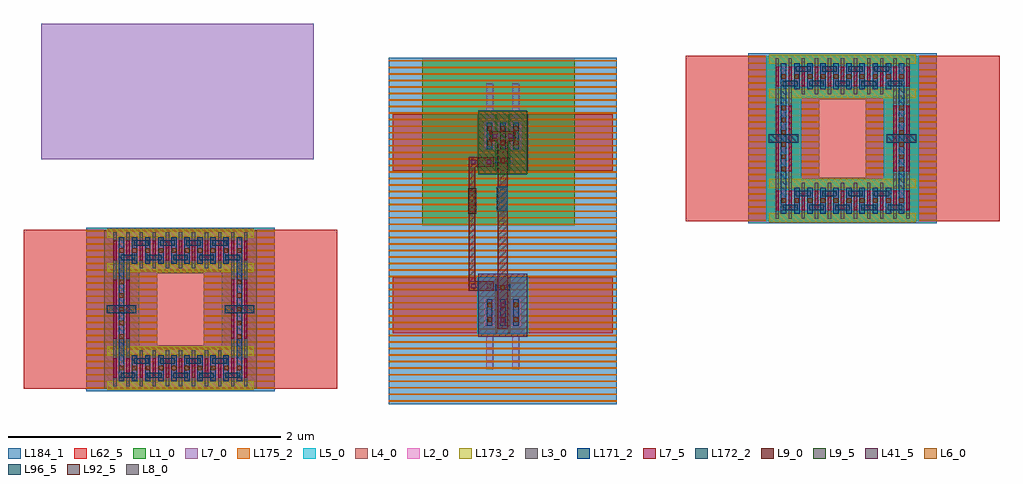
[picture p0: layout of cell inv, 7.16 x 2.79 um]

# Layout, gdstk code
import gdstk
lib = gdstk.Library(unit=1e-6, precision=1e-09)
def R(c, l, rs):  # rectangles x0, y0, x1, y1
    for r in rs: c.add(gdstk.rectangle(r[:2], r[2:], *l))
def A(c, l, x, y, w, h, nx, ny, dx, dy):  # array of equal rectangles
    R(c, l, [(x+i*dx, y+j*dy, x+i*dx+w, y+j*dy+h) for i in range(nx) for j in range(ny)])
L1_0 = (1, 0)
L2_0 = (2, 0)
L3_0 = (3, 0)
L4_0 = (4, 0)
L5_0 = (5, 0)
L6_0 = (6, 0)
L7_0 = (7, 0)
L7_5 = (7, 5)
L8_0 = (8, 0)
L9_0 = (9, 0)
L9_5 = (9, 5)
L41_5 = (41, 5)
L62_5 = (62, 5)
L92_5 = (92, 5)
L96_5 = (96, 5)
L171_2 = (171, 2)
L172_2 = (172, 2)
L173_2 = (173, 2)
L175_2 = (175, 2)
L184_1 = (184, 1)

m2_m1_cdns_560242955921 = lib.new_cell('M2_M1_CDNS_560242955921')
R(m2_m1_cdns_560242955921, L7_0, [(-0.036,-0.093,0.036,0.093)])
R(m2_m1_cdns_560242955921, L8_0, [(-0.016,-0.073,0.016,-0.041), (-0.016,0.041,0.016,0.073)])
R(m2_m1_cdns_560242955921, L9_0, [(-0.036,-0.123,0.036,0.093)])

m2_m1_cdns_560242955920 = lib.new_cell('M2_M1_CDNS_560242955920')
R(m2_m1_cdns_560242955920, L7_0, [(-0.093,-0.036,0.093,0.036)])
R(m2_m1_cdns_560242955920, L8_0, [(-0.073,-0.016,-0.041,0.016), (0.041,-0.016,0.073,0.016)])
R(m2_m1_cdns_560242955920, L9_0, [(-0.093,-0.036,0.093,0.036)])

pgr_cdns_560242955923 = lib.new_cell('PGR_CDNS_560242955923')
R(pgr_cdns_560242955923, L2_0, [(0,-0.024,0.96,0.12), (0,0.264,0.096,0.696), (0.864,0.264,0.96,0.696), (0,0.84,0.96,0.984)])
A(pgr_cdns_560242955923, L3_0, -0.012, -0.084, 0.024, 0.264, 11, 2, 0.096, 0.864)
R(pgr_cdns_560242955923, L3_0, [(-0.012,-0.024,0.012,0.984), (0.084,-0.024,0.108,0.984), (0.852,-0.024,0.876,0.984), (0.948,-0.024,0.972,0.984), (-0.012,0.204,0.012,0.756), (0.084,0.204,0.108,0.756), (0.852,0.204,0.876,0.756), (0.948,0.204,0.972,0.756)])
R(pgr_cdns_560242955923, L4_0, [(-0.08,-0.104,0.176,1.064), (-0.08,-0.104,1.04,0.2), (0.784,-0.104,1.04,1.064), (-0.08,0.76,1.04,1.064)])
A(pgr_cdns_560242955923, L6_0, 0.032, 0.032, 0.032, 0.032, 10, 2, 0.096, 0.864)
A(pgr_cdns_560242955923, L6_0, 0.032, 0.264, 0.032, 0.032, 1, 5, 0, 0.1)
A(pgr_cdns_560242955923, L6_0, 0.896, 0.264, 0.032, 0.032, 1, 5, 0, 0.1)
R(pgr_cdns_560242955923, L7_0, [(0,-0.024,0.096,0.984), (0,-0.024,0.96,0.12), (0.864,-0.024,0.96,0.984), (0,0.84,0.96,0.984)])
A(pgr_cdns_560242955923, L7_5, -0.012, -0.024, 0.024, 0.144, 11, 2, 0.096, 0.864)
R(pgr_cdns_560242955923, L7_5, [(-0.012,0.264,0.012,0.696), (0.084,0.264,0.108,0.696), (0.852,0.264,0.876,0.696), (0.948,0.264,0.972,0.696)])
R(pgr_cdns_560242955923, L62_5, [(-0.672,-0.104,0.768,1.064), (-0.08,-0.104,1.04,0.2), (0.192,-0.104,1.632,1.064), (-0.08,0.76,1.04,1.064)])
A(pgr_cdns_560242955923, L171_2, 0.028, -0.048, 0.04, 0.192, 10, 2, 0.096, 0.864)
R(pgr_cdns_560242955923, L171_2, [(0.028,-0.048,0.068,1.008), (0.892,-0.048,0.932,1.008)])
A(pgr_cdns_560242955923, L172_2, 0.042, -0.024, 0.108, 0.04, 5, 2, 0.192, 0.864)
A(pgr_cdns_560242955923, L172_2, 0.138, 0.081, 0.108, 0.04, 4, 2, 0.192, 0.864)
R(pgr_cdns_560242955923, L172_2, [(-0.06,0.45,0.156,0.51), (0.804,0.45,1.02,0.51)])
R(pgr_cdns_560242955923, L173_2, [(-0.057,-0.112,0.153,-0.044), (-0.057,-0.112,1.017,-0.044), (0.807,-0.112,1.017,-0.044), (-0.057,0.14,1.017,0.208), (-0.057,0.752,1.017,0.82), (-0.057,1.004,0.153,1.072), (-0.057,1.004,1.017,1.072), (0.807,1.004,1.017,1.072)])
A(pgr_cdns_560242955923, L175_2, -0.212, -0.101, 0.52, 0.01, 1, 25, 0, 0.048)
A(pgr_cdns_560242955923, L175_2, -0.08, -0.101, 1.12, 0.01, 1, 7, 0, 0.048)
A(pgr_cdns_560242955923, L175_2, 0.652, -0.101, 0.52, 0.01, 1, 25, 0, 0.048)
A(pgr_cdns_560242955923, L175_2, -0.08, 0.763, 1.12, 0.01, 1, 7, 0, 0.048)
R(pgr_cdns_560242955923, L184_1, [(-0.212,-0.12,0.308,1.08), (-0.08,-0.12,1.04,0.216), (0.652,-0.12,1.172,1.08), (-0.08,0.744,1.04,1.08)])

p08_ckt_cdns_56024295592 = lib.new_cell('p08_ckt_CDNS_560242955922')
R(p08_ckt_cdns_56024295592, L1_0, [(-0.384,-0.361,0.496,0.553)])
A(p08_ckt_cdns_56024295592, L2_0, -0.08, 0, 0.08, 0.192, 3, 1, 0.096, 0)
R(p08_ckt_cdns_56024295592, L2_0, [(0,0,0.016,0.192), (0.096,0,0.112,0.192)])
R(p08_ckt_cdns_56024295592, L3_0, [(0,-0.16,0.016,0), (0.096,-0.16,0.112,0), (0,0,0.016,0.192), (0.096,0,0.112,0.192), (0,0.192,0.016,0.256), (0.096,0.192,0.112,0.256)])
R(p08_ckt_cdns_56024295592, L4_0, [(-0.132,-0.16,0.244,0.256)])
A(p08_ckt_cdns_56024295592, L6_0, -0.056, 0.029, 0.032, 0.032, 3, 2, 0.096, 0.106)
R(p08_ckt_cdns_56024295592, L6_0, [(0.04,-0.1,0.072,-0.068)])
A(p08_ckt_cdns_56024295592, L7_0, -0.065, 0.004, 0.05, 0.188, 3, 1, 0.096, 0)
R(p08_ckt_cdns_56024295592, L7_0, [(-0.013,-0.109,0.125,-0.059)])
R(p08_ckt_cdns_56024295592, L9_5, [(-0.125,-0.184,0.237,0.28)])
R(p08_ckt_cdns_56024295592, L62_5, [(-0.752,-0.16,0.864,0.256)])
A(p08_ckt_cdns_56024295592, L171_2, -0.06, 0, 0.04, 0.192, 3, 1, 0.096, 0)
R(p08_ckt_cdns_56024295592, L172_2, [(0,-0.104,0.112,-0.064)])
A(p08_ckt_cdns_56024295592, L175_2, -0.78, -0.413, 1.672, 0.01, 1, 22, 0, 0.048)
R(p08_ckt_cdns_56024295592, L184_1, [(-0.78,-0.432,0.892,0.624)])

n08_ckt_cdns_56024295592 = lib.new_cell('n08_ckt_CDNS_560242955921')
A(n08_ckt_cdns_56024295592, L2_0, -0.08, 0, 0.08, 0.192, 3, 1, 0.096, 0)
R(n08_ckt_cdns_56024295592, L2_0, [(0,0,0.016,0.192), (0.096,0,0.112,0.192)])
R(n08_ckt_cdns_56024295592, L3_0, [(0,-0.056,0.016,0), (0.096,-0.056,0.112,0), (0,0,0.016,0.192), (0.096,0,0.112,0.192), (0,0.192,0.016,0.356), (0.096,0.192,0.112,0.356)])
R(n08_ckt_cdns_56024295592, L5_0, [(-0.132,-0.061,0.244,0.356)])
A(n08_ckt_cdns_56024295592, L6_0, -0.056, 0.029, 0.032, 0.032, 3, 2, 0.096, 0.106)
R(n08_ckt_cdns_56024295592, L6_0, [(0.04,0.264,0.072,0.296)])
A(n08_ckt_cdns_56024295592, L7_0, -0.065, 0.004, 0.05, 0.188, 3, 1, 0.096, 0)
R(n08_ckt_cdns_56024295592, L7_0, [(-0.013,0.255,0.125,0.305)])
R(n08_ckt_cdns_56024295592, L41_5, [(-0.125,-0.08,0.237,0.38)])
R(n08_ckt_cdns_56024295592, L62_5, [(-0.752,-0.056,0.864,0.356)])
A(n08_ckt_cdns_56024295592, L171_2, -0.06, 0, 0.04, 0.192, 3, 1, 0.096, 0)
R(n08_ckt_cdns_56024295592, L172_2, [(0,0.26,0.112,0.3)])
A(n08_ckt_cdns_56024295592, L175_2, -0.78, -0.125, 1.672, 0.01, 1, 12, 0, 0.048)
R(n08_ckt_cdns_56024295592, L184_1, [(-0.78,-0.144,0.892,0.432)])

ngr_cdns_560242955920 = lib.new_cell('NGR_CDNS_560242955920')
R(ngr_cdns_560242955920, L1_0, [(0.688,-0.104,0.944,1.112), (0.688,-0.104,1.808,0.2), (1.552,-0.104,1.808,1.112), (0.688,0.808,1.808,1.112)])
R(ngr_cdns_560242955920, L2_0, [(0.768,-0.024,1.728,0.12), (0.768,0.264,0.864,0.744), (1.632,0.264,1.728,0.744), (0.768,0.888,1.728,1.032)])
A(ngr_cdns_560242955920, L3_0, 0.756, -0.084, 0.024, 0.264, 11, 2, 0.096, 0.912)
R(ngr_cdns_560242955920, L3_0, [(0.756,-0.024,0.78,1.032), (0.852,-0.024,0.876,1.032), (1.62,-0.024,1.644,1.032), (1.716,-0.024,1.74,1.032), (0.756,0.204,0.78,0.804), (0.852,0.204,0.876,0.804), (1.62,0.204,1.644,0.804), (1.716,0.204,1.74,0.804)])
R(ngr_cdns_560242955920, L5_0, [(0.688,-0.104,0.944,1.112), (0.688,-0.104,1.808,0.2), (1.552,-0.104,1.808,1.112), (0.688,0.808,1.808,1.112)])
A(ngr_cdns_560242955920, L6_0, 0.8, 0.032, 0.032, 0.032, 10, 2, 0.096, 0.912)
A(ngr_cdns_560242955920, L6_0, 0.8, 0.264, 0.032, 0.032, 1, 4, 0, 0.09)
A(ngr_cdns_560242955920, L6_0, 1.664, 0.264, 0.032, 0.032, 1, 4, 0, 0.09)
R(ngr_cdns_560242955920, L6_0, [(0.8,0.623,0.832,0.655), (1.664,0.623,1.696,0.655), (0.8,0.712,0.832,0.744), (1.664,0.712,1.696,0.744)])
R(ngr_cdns_560242955920, L7_0, [(0.768,-0.024,0.864,1.032), (0.768,-0.024,1.728,0.12), (1.632,-0.024,1.728,1.032), (0.768,0.888,1.728,1.032)])
A(ngr_cdns_560242955920, L7_5, 0.756, -0.024, 0.024, 0.144, 11, 2, 0.096, 0.912)
R(ngr_cdns_560242955920, L7_5, [(0.756,0.264,0.78,0.744), (0.852,0.264,0.876,0.744), (1.62,0.264,1.644,0.744), (1.716,0.264,1.74,0.744)])
R(ngr_cdns_560242955920, L62_5, [(0.096,-0.104,1.536,1.112), (0.688,-0.104,1.808,0.2), (0.96,-0.104,2.4,1.112), (0.688,0.808,1.808,1.112)])
A(ngr_cdns_560242955920, L171_2, 0.796, -0.048, 0.04, 0.192, 10, 2, 0.096, 0.912)
R(ngr_cdns_560242955920, L171_2, [(0.796,-0.048,0.836,1.056), (1.66,-0.048,1.7,1.056)])
A(ngr_cdns_560242955920, L172_2, 0.81, -0.024, 0.108, 0.04, 5, 2, 0.192, 0.912)
A(ngr_cdns_560242955920, L172_2, 0.906, 0.081, 0.108, 0.04, 4, 2, 0.192, 0.912)
R(ngr_cdns_560242955920, L172_2, [(0.708,0.474,0.924,0.534), (1.572,0.474,1.788,0.534)])
R(ngr_cdns_560242955920, L173_2, [(0.711,-0.112,0.921,-0.044), (0.711,-0.112,1.785,-0.044), (1.575,-0.112,1.785,-0.044), (0.711,0.14,1.785,0.208), (0.711,0.8,1.785,0.868), (0.711,1.052,0.921,1.12), (0.711,1.052,1.785,1.12), (1.575,1.052,1.785,1.12)])
A(ngr_cdns_560242955920, L175_2, 0.556, -0.101, 0.52, 0.01, 1, 26, 0, 0.048)
A(ngr_cdns_560242955920, L175_2, 0.688, -0.101, 1.12, 0.01, 1, 7, 0, 0.048)
A(ngr_cdns_560242955920, L175_2, 1.42, -0.101, 0.52, 0.01, 1, 26, 0, 0.048)
A(ngr_cdns_560242955920, L175_2, 0.688, 0.811, 1.12, 0.01, 1, 7, 0, 0.048)
R(ngr_cdns_560242955920, L184_1, [(0.556,-0.12,1.076,1.128), (0.688,-0.12,1.808,0.216), (1.42,-0.12,1.94,1.128), (0.688,0.792,1.808,1.128)])

inv = lib.new_cell('inv')
R(inv, L1_0, [(0.132,1.216,1.252,2.432)])
R(inv, L7_0, [(-2.665,1.7,-0.665,2.695), (-1.175,2.21,-1.14,2.26)])
R(inv, L92_5, [(0.47,1.3,0.53,1.49)])
R(inv, L96_5, [(0.68,1.32,0.76,1.5)])
A(inv, L175_2, -0.113, -0.077, 1.672, 0.01, 1, 53, 0, 0.048)
R(inv, L184_1, [(-0.113,-0.096,1.559,2.448)])
inv.add(gdstk.FlexPath([(0.497,1.707),(0.497,0.739)], 0.05, ends="flush", simple_path=True, layer=9, datatype=0))  # L9_0
inv.add(gdstk.FlexPath([(0.723,1.863),(0.723,0.559)], 0.072, ends="flush", simple_path=True, layer=9, datatype=0))  # L9_0
inv.add(gdstk.FlexPath([(0.819,1.858),(0.819,2.257)], 0.05, ends="flush", simple_path=True, layer=7, datatype=0))  # L7_0
inv.add(gdstk.FlexPath([(0.627,1.858),(0.627,2.257)], 0.05, ends="flush", simple_path=True, layer=7, datatype=0))  # L7_0
inv.add(gdstk.FlexPath([(0.819,0.159),(0.819,0.608)], 0.05, ends="flush", simple_path=True, layer=7, datatype=0))  # L7_0
inv.add(gdstk.FlexPath([(0.627,0.159),(0.627,0.608)], 0.05, ends="flush", simple_path=True, layer=7, datatype=0))  # L7_0
inv.add(gdstk.Reference(m2_m1_cdns_560242955921, (0.723,0.579)))
inv.add(gdstk.Reference(m2_m1_cdns_560242955920, (0.565,0.771)))
inv.add(gdstk.Reference(m2_m1_cdns_560242955920, (0.565,1.681)))
inv.add(gdstk.Reference(m2_m1_cdns_560242955920, (0.722,1.87)))
inv.add(gdstk.Reference(pgr_cdns_560242955923, (-2.123,0.12)))
inv.add(gdstk.Reference(p08_ckt_cdns_56024295592, (0.667,1.776)))
inv.add(gdstk.Reference(n08_ckt_cdns_56024295592, (0.667,0.48)))
inv.add(gdstk.Reference(ngr_cdns_560242955920, (1.969,1.35)))

lib.write_gds('inv.gds')
